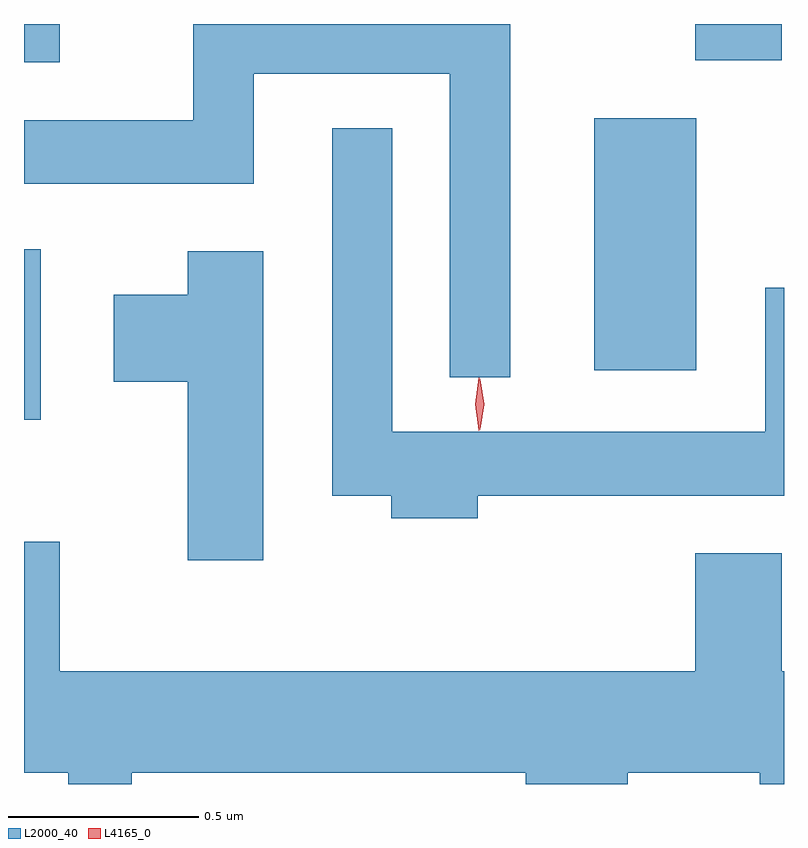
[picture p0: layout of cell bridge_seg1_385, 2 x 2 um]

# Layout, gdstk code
import gdstk
lib = gdstk.Library(unit=1e-6, precision=1e-09)
def R(c, l, rs):  # rectangles x0, y0, x1, y1
    for r in rs: c.add(gdstk.rectangle(r[:2], r[2:], *l))
def P(c, l, *ps):  # polygons
    for p in ps: c.add(gdstk.Polygon(p, *l))
L2000_40 = (2000, 40)
L4165_0 = (4165, 0)

bridge_seg1_385 = lib.new_cell('bridge_seg1_385')
R(bridge_seg1_385, L2000_40, [(873.095,860.546,873.139,860.994), (874.596,860.676,874.864,861.339), (873.095,861.486,873.189,861.587), (874.861,861.491,875.089,861.587)])
P(bridge_seg1_385, L2000_40, [(874.374,861.587),(873.541,861.587),(873.541,861.334),(873.095,861.334),(873.095,861.166),(873.699,861.166),(873.699,861.456),(874.216,861.456),(874.216,860.658),(874.374,860.658)],
  [(874.289,860.346),(875.095,860.346),(875.095,860.893),(875.046,860.893),(875.046,860.514),(874.064,860.514),(874.064,861.313),(873.906,861.313),(873.906,860.346),(874.061,860.346),(874.061,860.286),(874.289,860.286)],
  [(873.724,860.989),(873.526,860.989),(873.526,860.874),(873.331,860.874),(873.331,860.646),(873.526,860.646),(873.526,860.176),(873.724,860.176)],
  [(873.379,859.616),(874.416,859.616),(874.416,859.587),(874.684,859.587),(874.684,859.616),(875.031,859.616),(875.031,859.587),(875.095,859.587),(875.095,859.884),(875.089,859.884),(875.089,860.194),(874.861,860.194),(874.861,859.884),(873.189,859.884),(873.189,860.224),(873.095,860.224),(873.095,859.616),(873.211,859.616),(873.211,859.587),(873.379,859.587)])
P(bridge_seg1_385, L4165_0, [(874.292,860.517),(874.292,860.518),(874.282,860.587),(874.292,860.656),(874.292,860.656),(874.293,860.656),(874.302,860.587),(874.293,860.518)],
  [(874.296,860.519),(874.296,860.52),(874.286,860.586),(874.296,860.652),(874.296,860.653),(874.296,860.652),(874.306,860.586),(874.296,860.52)])

lib.write_gds('bridge_seg1_385.gds')
